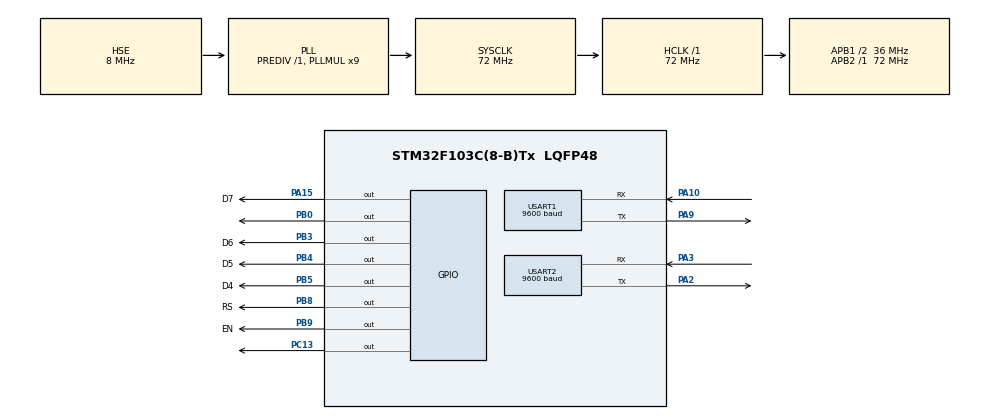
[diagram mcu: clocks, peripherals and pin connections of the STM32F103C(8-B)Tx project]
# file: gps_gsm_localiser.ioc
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Mcu.Family=STM32F1
Mcu.Name=STM32F103C(8-B)Tx
Mcu.Package=LQFP48
NVIC.PVD_IRQn=true\:0\:0\:false\:false\:true\:true\:true
NVIC.PriorityGroup=NVIC_PRIORITYGROUP_4
NVIC.USART1_IRQn=true\:0\:0\:false\:false\:true\:true\:true
NVIC.USART2_IRQn=true\:0\:0\:false\:false\:true\:true\:true
PA10.Mode=Asynchronous
PA10.Signal=USART1_RX
PA13.Mode=Serial_Wire
PA13.Signal=SYS_JTMS-SWDIO
PA14.Mode=Serial_Wire
PA14.Signal=SYS_JTCK-SWCLK
PA15.GPIO_Label=D7
PA15.Signal=GPIO_Output
PA2.Mode=Asynchronous
PA2.Signal=USART2_TX
PA3.Mode=Asynchronous
PA3.Signal=USART2_RX
PA9.Mode=Asynchronous
PA9.Signal=USART1_TX
PB0.Signal=GPIO_Output
PB3.GPIO_Label=D6
PB3.Signal=GPIO_Output
PB4.GPIO_Label=D5
PB4.Signal=GPIO_Output
PB5.GPIO_Label=D4
PB5.Signal=GPIO_Output
PB8.GPIO_Label=RS
PB8.Signal=GPIO_Output
PB9.GPIO_Label=EN
PB9.Signal=GPIO_Output
PC13-TAMPER-RTC.Signal=GPIO_Output
PC14-OSC32_IN.Mode=LSE-External-Oscillator
PC14-OSC32_IN.Signal=RCC_OSC32_IN
PC15-OSC32_OUT.Mode=LSE-External-Oscillator
PC15-OSC32_OUT.Signal=RCC_OSC32_OUT
PD0-OSC_IN.Mode=HSE-External-Oscillator
PD0-OSC_IN.Signal=RCC_OSC_IN
PD1-OSC_OUT.Mode=HSE-External-Oscillator
PD1-OSC_OUT.Signal=RCC_OSC_OUT
ProjectManager.HeapSize=0x200
ProjectManager.StackSize=0x400
ProjectManager.TargetToolchain=STM32CubeIDE
RCC.AHBFreq_Value=72000000
RCC.APB1CLKDivider=RCC_HCLK_DIV2
RCC.APB1Freq_Value=36000000
RCC.APB1TimFreq_Value=72000000
RCC.APB2Freq_Value=72000000
RCC.APB2TimFreq_Value=72000000
RCC.HCLKFreq_Value=72000000
RCC.PLLMUL=RCC_PLL_MUL9
RCC.PLLSourceVirtual=RCC_PLLSOURCE_HSE
RCC.RTCClockSelection=RCC_RTCCLKSOURCE_LSE
RCC.SYSCLKFreq_VALUE=72000000
RCC.SYSCLKSource=RCC_SYSCLKSOURCE_PLLCLK
RCC.USBFreq_Value=72000000
RTC.Format=RTC_FORMAT_BIN
RTC.Seconds=1
USART1.BaudRate=9600
USART1.VirtualMode=VM_ASYNC
USART2.BaudRate=9600
USART2.VirtualMode=VM_ASYNC
USART2.WordLength=WORDLENGTH_8B
VP_RTC_VS_RTC_Activate.Mode=RTC_Enabled
VP_RTC_VS_RTC_Calendar.Mode=RTC_Calendar
board=custom

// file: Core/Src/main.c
/* USER CODE BEGIN Header */
/**
  ******************************************************************************
  * @file           : main.c
  * @brief          : Main program body
  ******************************************************************************
  * @attention
  *
  * <h2><center>&copy; Copyright (c) 2020 STMicroelectronics.
  * All rights reserved.</center></h2>
  *
  * This software component is licensed by ST under BSD 3-Clause license,
  * the "License"; You may not use this file except in compliance with the
  * License. You may obtain a copy of the License at:
  *                        opensource.org/licenses/BSD-3-Clause
  *
  ******************************************************************************
  */
/* USER CODE END Header */
#include "main.h"

/* USER CODE BEGIN Includes */
#include "lcd.h"
#include "gps.h"
#include "gsm.h"
#include "string.h"
#include "stdlib.h"
/* USER CODE END Includes */

/* USER CODE BEGIN PTD */
RTC_TimeTypeDef cTime;
RTC_DateTypeDef cDate;
/* USER CODE END PTD */

RTC_HandleTypeDef hrtc;
UART_HandleTypeDef huart1;
UART_HandleTypeDef huart2;

/* USER CODE BEGIN PV */
char message[180];
char doubletoLCD[10];
uint16_t size;
uint8_t CompareSeconds=0;
uint8_t protect=0;
double compareLatitude=0;
double compareLongitude=0;
uint8_t test=0;
/* USER CODE END PV */

void SystemClock_Config(void);
static void MX_GPIO_Init(void);
static void MX_USART1_UART_Init(void);
static void MX_RTC_Init(void);
static void MX_USART2_UART_Init(void);
/* USER CODE BEGIN PFP */
void set_time();
void set_date();

/* USER CODE END PFP */

int main(void)
{

  /* MCU Configuration--------------------------------------------------------*/

  /* Reset of all peripherals, Initializes the Flash interface and the Systick. */
  HAL_Init();

  /* USER CODE BEGIN Init */
  uint8_t timeToResponse=0;
  uint8_t mode1Minutes=0;
  /* USER CODE END Init */

  /* Configure the system clock */
  SystemClock_Config();

  /* Initialize all configured peripherals */
  HAL_Delay(3000);							//wait for GSM module
  MX_GPIO_Init();
  MX_RTC_Init();
  MX_USART2_UART_Init();

  /* USER CODE BEGIN 2 */
  LCD_PortType Ports[] = {D4_GPIO_Port, D5_GPIO_Port, D6_GPIO_Port, D7_GPIO_Port};
  LCD_PinType Pins[] = {D4_Pin, D5_Pin, D6_Pin, D7_Pin};
  LCD_HandleTypeDef LCD;
  LCD = LCD_Create(Ports, Pins, RS_GPIO_Port, RS_Pin, EN_GPIO_Port, EN_Pin);

  LCD_Clear(&LCD);

  GSM_Init(&huart2);

  size=sprintf(message, "AT+CMGF=1\r");					//switch on text mode
  HAL_UART_Transmit(&huart2, message, size, 50);
  HAL_Delay(50);
  size=sprintf(message, "AT+CMGD=1,4\r");				//delete all SMS
  HAL_UART_Transmit(&huart2, message, size, 50);
  HAL_Delay(50);

  LCD_Clear(&LCD);

  //**Boot menu - wait till get number**//
  controlLCD=0;
  while(strlen(number)!=9){
	  GSM_Work();
	  LCD_Cursor(&LCD,0,0);
	  LCD_String(&LCD, "***loCARliser*");
	  LCD_Cursor(&LCD,0,15);
	  LCD_Int(&LCD,test);
	  LCD_Cursor(&LCD,1,0);
	  LCD_String(&LCD, "  Brak  numeru  ");
  }

  MX_USART1_UART_Init();
  GPS_Init(&huart1);
  LCD_Clear(&LCD);

  //**Sequence for welcome message**//
  GSM_Response=1;
  GSM_SelectNumber();
  utc=1;
  mode=10;
  interval=60;											//default interval between messages in Mode 1
  timeSetFlag=0;
  /* USER CODE END 2 */

  /* Infinite loop */
  /* USER CODE BEGIN WHILE */
  while (1)
  {
	  	  HAL_RTC_GetTime(&hrtc, &cTime, RTC_FORMAT_BIN);
	  	  HAL_RTC_GetDate(&hrtc, &cDate, RTC_FORMAT_BIN);
	  	  GPS_Work();
	  	  GSM_Work();

	  	  if(cTime.Seconds != CompareSeconds){
	  		    //**LCD Display section**//
	  		    if(controlLCD<10){
	  		    	LCD_Cursor(&LCD, 0, 0);
	  		    	LCD_Int(&LCD, (cTime.Hours));
	  		    	LCD_Cursor(&LCD, 0, 2);
	  		    	LCD_String(&LCD, ":");
	  		    	LCD_Cursor(&LCD, 0, 3);
	  		    	LCD_Int(&LCD, cTime.Minutes);
	  		    	LCD_Cursor(&LCD, 0, 5);
	  		    	LCD_String(&LCD, ":");
	  		    	LCD_Cursor(&LCD, 0, 6);
	  		    	LCD_Int(&LCD, cTime.Seconds);
	  		    	LCD_Cursor(&LCD, 1, 0);
	  		    	LCD_Int(&LCD, cDate.Date);
	  		    	LCD_Cursor(&LCD, 1, 2);
	  		    	LCD_String(&LCD, ".");
	  		    	LCD_Cursor(&LCD, 1, 3);
	  		    	LCD_Int(&LCD, cDate.Month);
	  		    	LCD_Cursor(&LCD, 1, 5);
	  		    	LCD_String(&LCD, ".");
	  		    	LCD_Cursor(&LCD, 1, 6);
	  		    	LCD_Int(&LCD, (cDate.Year+2000));
	  		    	}

	  		    if(controlLCD==10){
	  		    	LCD_Clear(&LCD);
	  		    }

	  		    if(controlLCD>=10){
	  		    	if(GPS_Valid=='A'){
	  		    		LCD_Cursor(&LCD,0,0);
	  		    		sprintf(doubletoLCD, "%6f%c",GPS_Latitude, GPS_LatitudeDirection);
	  		    		LCD_String(&LCD,doubletoLCD);
	  		    		LCD_Cursor(&LCD,1,0);
	  		    		sprintf(doubletoLCD, "%6f%c",GPS_Longitude,GPS_LongitudeDirection);
	  		    		LCD_String(&LCD,doubletoLCD);
	  		    	}else{
	  		    		LCD_Cursor(&LCD, 0,0);
	  		    		LCD_String(&LCD,"Brak sygnalu GPS");
	  		    		LCD_Cursor(&LCD, 1,0);
	  		    		LCD_String(&LCD,"****************");
	  		    	}
	  		    }

	  		    if(controlLCD==20){
	  		    	LCD_Clear(&LCD);
	  		    	controlLCD=1;
	  		    }

	  		  //**Mode 1 section**//
	  		  if(mode==1){
	  			 if(compareMinutes!=cTime.Minutes){
	  				 mode1Minutes++;
	  				 compareMinutes=cTime.Minutes;
	  			 }
	  			if(mode1Minutes==interval){
	  				mode1Minutes=0;
	  				GSM_SelectNumber();
	  				GSM_Response=3;
	  			}
	  		  }

	  		  //**Mode 2 section**//
	  		  if((mode==2)&&(protect==1)){
	  			  if((abs(GPS_Latitude-compareLatitude)>0.001)||(abs(GPS_Longitude-compareLongitude)>0.001)){
	  				  GSM_SelectNumber();
	  				  GSM_Response=4;
	  			  }
	  		  }

	  		 //**SMS sending section**//
	  		  switch(GSM_Response){
	  		  case 1:
	  		  		  timeToResponse++;
	  		  		  if(timeToResponse==2){
	  		  			GSM_SendMessage("Witaj!\nWybierz tryb:\nMODE 0 - Tryb czuwania\nMODE 1 - Tryb podstawowy\nMODE 2- Tryb ochrony");
	  		  			GSM_Response=0;
	  		  			timeToResponse=0;
	  		  		  }
	  		  		  break;

	  		  case 2:
	  		  		  timeToResponse++;
	  		  		  if((timeToResponse==2)&&mode==0){
	  		  			  GSM_SendMessage("Wybrano tryb czuwania");
	  		  			  protect=0;
	  		  			  GSM_Response=0;
	  		  			  timeToResponse=0;
	  		  		  }
	  		  		  if((timeToResponse==2)&&mode==1){
	  		  			  GSM_SendMessage("Wybrano tryb podstawowy");
	  		  			  protect=0;
	  		  			  GSM_Response=0;
	  		  			  timeToResponse=0;
	  		  		  }
	  		  		  if((timeToResponse==2)&&mode==2){
	  		  			  GSM_SendMessage("Wybrano tryb ochrony");
	  		  			  protect=1;
	  		  			  GSM_Response=0;
	  		  			  timeToResponse=0;
	  		  			  compareLatitude=GPS_Latitude;
	  		  			  compareLongitude=GPS_Longitude;
	  		  		  }
	  		  		  break;

	  		  case 3:
	  		  		  timeToResponse++;
	  		  		  if(timeToResponse==2){
	  		  			  if(GPS_Valid=='A'){
	  		  				GSM_LocateMessage();
	  		  				GSM_Response=0;
	  		  				timeToResponse=0;
	  		  			  }else{
	  		  				GSM_SendMessage("Brak sygnalu GPS");
	  		  				GSM_Response=0;
	  		  				timeToResponse=0;
	  		  			  }
	  		  		  }
	  			  	  break;

	  		  case 4:
	  			  	  if(timeToResponse==2){
	  			  		  GSM_SendMessage("KRADZIEZ!");
	  			  		  GSM_Response=0;
	  			  		  timeToResponse=0;
	  			  	  }
	  			  	  break;
	  		  }

	  		 controlLCD++;
	  		CompareSeconds=cTime.Seconds;
	  	  }

	  	  //**Time synchronization**//
	  	  if((cTime.Hours==1)&&(cTime.Minutes==0)&&(cTime.Seconds==0)){
	  		  timeSetFlag=0;
	  	  }

	  	  //**Setting time with UTC correction**//
	  	  if(GPS_Valid=='A'&&timeSetFlag==0){
	  		  if(GPS_Hour>23){
	  			  GPS_Hour=GPS_Hour-24;
	  			  GPS_Day++;
	  		  }
	  		  set_time();
	  		  set_date();
	  		  timeSetFlag=1;
	  	  }

    /* USER CODE END WHILE */

  }
}

void SystemClock_Config(void)
{
  RCC_OscInitTypeDef RCC_OscInitStruct = {0};
  RCC_ClkInitTypeDef RCC_ClkInitStruct = {0};
  RCC_PeriphCLKInitTypeDef PeriphClkInit = {0};

  /** Initializes the RCC Oscillators according to the specified parameters
  * in the RCC_OscInitTypeDef structure.
  */
  RCC_OscInitStruct.OscillatorType = RCC_OSCILLATORTYPE_HSE|RCC_OSCILLATORTYPE_LSE;
  RCC_OscInitStruct.HSEState = RCC_HSE_ON;
  RCC_OscInitStruct.HSEPredivValue = RCC_HSE_PREDIV_DIV1;
  RCC_OscInitStruct.LSEState = RCC_LSE_ON;
  RCC_OscInitStruct.HSIState = RCC_HSI_ON;
  RCC_OscInitStruct.PLL.PLLState = RCC_PLL_ON;
  RCC_OscInitStruct.PLL.PLLSource = RCC_PLLSOURCE_HSE;
  RCC_OscInitStruct.PLL.PLLMUL = RCC_PLL_MUL9;
  if (HAL_RCC_OscConfig(&RCC_OscInitStruct) != HAL_OK)
  {
    Error_Handler();
  }
  /** Initializes the CPU, AHB and APB buses clocks
  */
  RCC_ClkInitStruct.ClockType = RCC_CLOCKTYPE_HCLK|RCC_CLOCKTYPE_SYSCLK
                              |RCC_CLOCKTYPE_PCLK1|RCC_CLOCKTYPE_PCLK2;
  RCC_ClkInitStruct.SYSCLKSource = RCC_SYSCLKSOURCE_PLLCLK;
  RCC_ClkInitStruct.AHBCLKDivider = RCC_SYSCLK_DIV1;
  RCC_ClkInitStruct.APB1CLKDivider = RCC_HCLK_DIV2;
  RCC_ClkInitStruct.APB2CLKDivider = RCC_HCLK_DIV1;

  if (HAL_RCC_ClockConfig(&RCC_ClkInitStruct, FLASH_LATENCY_2) != HAL_OK)
  {
    Error_Handler();
  }
  PeriphClkInit.PeriphClockSelection = RCC_PERIPHCLK_RTC;
  PeriphClkInit.RTCClockSelection = RCC_RTCCLKSOURCE_LSE;
  if (HAL_RCCEx_PeriphCLKConfig(&PeriphClkInit) != HAL_OK)
  {
    Error_Handler();
  }
}

static void MX_RTC_Init(void)
{

  RTC_TimeTypeDef sTime = {0};
  RTC_DateTypeDef DateToUpdate = {0};

  /** Initialize RTC Only
  */
  hrtc.Instance = RTC;
  hrtc.Init.AsynchPrediv = RTC_AUTO_1_SECOND;
  hrtc.Init.OutPut = RTC_OUTPUTSOURCE_ALARM;
  if (HAL_RTC_Init(&hrtc) != HAL_OK)
  {
    Error_Handler();
  }

  /** Initialize RTC and set the Time and Date
  */
  sTime.Hours = 0;
  sTime.Minutes = 0;
  sTime.Seconds = 1;

  if (HAL_RTC_SetTime(&hrtc, &sTime, RTC_FORMAT_BIN) != HAL_OK)
  {
    Error_Handler();
  }
  DateToUpdate.WeekDay = RTC_WEEKDAY_MONDAY;
  DateToUpdate.Month = RTC_MONTH_JANUARY;
  DateToUpdate.Date = 1;
  DateToUpdate.Year = 0;

  if (HAL_RTC_SetDate(&hrtc, &DateToUpdate, RTC_FORMAT_BIN) != HAL_OK)
  {
    Error_Handler();
  }

}

static void MX_USART1_UART_Init(void)
{

  huart1.Instance = USART1;
  huart1.Init.BaudRate = 9600;
  huart1.Init.WordLength = UART_WORDLENGTH_8B;
  huart1.Init.StopBits = UART_STOPBITS_1;
  huart1.Init.Parity = UART_PARITY_NONE;
  huart1.Init.Mode = UART_MODE_TX_RX;
  huart1.Init.HwFlowCtl = UART_HWCONTROL_NONE;
  huart1.Init.OverSampling = UART_OVERSAMPLING_16;
  if (HAL_UART_Init(&huart1) != HAL_OK)
  {
    Error_Handler();
  }

}

static void MX_USART2_UART_Init(void)
{

  huart2.Instance = USART2;
  huart2.Init.BaudRate = 9600;
  huart2.Init.WordLength = UART_WORDLENGTH_8B;
  huart2.Init.StopBits = UART_STOPBITS_1;
  huart2.Init.Parity = UART_PARITY_NONE;
  huart2.Init.Mode = UART_MODE_TX_RX;
  huart2.Init.HwFlowCtl = UART_HWCONTROL_NONE;
  huart2.Init.OverSampling = UART_OVERSAMPLING_16;
  if (HAL_UART_Init(&huart2) != HAL_OK)
  {
    Error_Handler();
  }

}

static void MX_GPIO_Init(void)
{
  GPIO_InitTypeDef GPIO_InitStruct = {0};

  /* GPIO Ports Clock Enable */
  __HAL_RCC_GPIOC_CLK_ENABLE();
  __HAL_RCC_GPIOD_CLK_ENABLE();
  __HAL_RCC_GPIOA_CLK_ENABLE();
  __HAL_RCC_GPIOB_CLK_ENABLE();

  /*Configure GPIO pin Output Level */
  HAL_GPIO_WritePin(GPIOC, GPIO_PIN_13, GPIO_PIN_RESET);

  /*Configure GPIO pin Output Level */
  HAL_GPIO_WritePin(GPIOB, GPIO_PIN_0|D6_Pin|D5_Pin|D4_Pin
                          |RS_Pin|EN_Pin, GPIO_PIN_RESET);

  /*Configure GPIO pin Output Level */
  HAL_GPIO_WritePin(D7_GPIO_Port, D7_Pin, GPIO_PIN_RESET);

  /*Configure GPIO pin : PC13 */
  GPIO_InitStruct.Pin = GPIO_PIN_13;
  GPIO_InitStruct.Mode = GPIO_MODE_OUTPUT_PP;
  GPIO_InitStruct.Pull = GPIO_NOPULL;
  GPIO_InitStruct.Speed = GPIO_SPEED_FREQ_LOW;
  HAL_GPIO_Init(GPIOC, &GPIO_InitStruct);

  /*Configure GPIO pins : PB0 D6_Pin D5_Pin D4_Pin
                           RS_Pin EN_Pin */
  GPIO_InitStruct.Pin = GPIO_PIN_0|D6_Pin|D5_Pin|D4_Pin
                          |RS_Pin|EN_Pin;
  GPIO_InitStruct.Mode = GPIO_MODE_OUTPUT_PP;
  GPIO_InitStruct.Pull = GPIO_NOPULL;
  GPIO_InitStruct.Speed = GPIO_SPEED_FREQ_LOW;
  HAL_GPIO_Init(GPIOB, &GPIO_InitStruct);

  /*Configure GPIO pin : D7_Pin */
  GPIO_InitStruct.Pin = D7_Pin;
  GPIO_InitStruct.Mode = GPIO_MODE_OUTPUT_PP;
  GPIO_InitStruct.Pull = GPIO_NOPULL;
  GPIO_InitStruct.Speed = GPIO_SPEED_FREQ_LOW;
  HAL_GPIO_Init(D7_GPIO_Port, &GPIO_InitStruct);

}

/* USER CODE BEGIN 4 */
void HAL_UART_RxCpltCallback(UART_HandleTypeDef *huart1){
	if(huart1->Instance == USART1){
		GPS_UartReceiveChar();
	}

	if(huart1->Instance == USART2){
		GSM_UartReceiveChar();
		test=1;
	}
}

void set_time(){
	  RTC_TimeTypeDef sTime;
	  sTime.Hours = GPS_Hour;
	  sTime.Minutes = GPS_Minute;
	  sTime.Seconds = GPS_Second;

	  if (HAL_RTC_SetTime(&hrtc, &sTime, RTC_FORMAT_BIN) != HAL_OK)
	  {
	    Error_Handler();
	  }
}

void set_date(){
	  RTC_DateTypeDef DateToUpdate;
	  DateToUpdate.Month = GPS_Month;
	  DateToUpdate.Date = GPS_Day;
	  DateToUpdate.Year = GPS_Year;

	  if (HAL_RTC_SetDate(&hrtc, &DateToUpdate, RTC_FORMAT_BIN) != HAL_OK)
	  {
	    Error_Handler();
	  }
}

/* USER CODE END 4 */

void Error_Handler(void)
{
}

/************************ (C) COPYRIGHT STMicroelectronics *****END OF FILE****/
